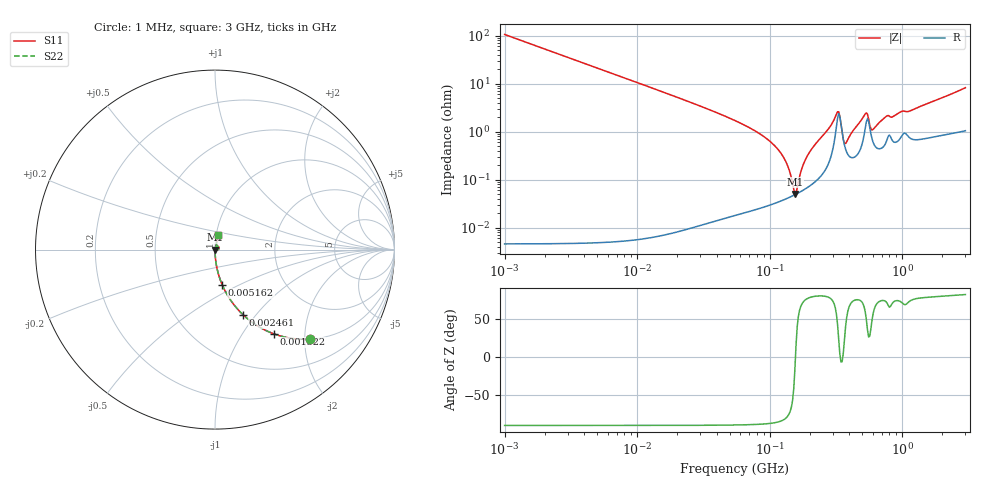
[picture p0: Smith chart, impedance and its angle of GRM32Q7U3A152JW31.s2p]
!Murata Part Number: GRM32Q7U3A152JW31
!These Parameters are Measured in Series Mode Connection
!Data Generated on Mar 30, 2021
!  o--ll--o
!Port1  Port2
!  o------o
!Operation Temp=25[degC], DC Bias Voltage=0[V]
!Freq. Start=1000[kHz] Stop=3[GHz] 401[Steps]
# Hz S RI R 50
!Freq.(Hz) S11(Real) S11(Imag) S21(Real) S21(Imag) S12(Real) S12(Imag) S22(Real) S22(Imag)
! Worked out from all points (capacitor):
!   401 points, 1 MHz to 3 GHz, reference 50 ohm
!   read as one part in series: C = 1.5 nF near 1.041 MHz
!   lowest |Z| = 50.5 mohm at 155.1 MHz (marker M1)
!   series resonance near 156.6 MHz, so ESL is about 690 pH
!   S11 on the Smith chart (normalised r, x): 1 MHz: 1.00, -2.13; 1.522 MHz: 1.00, -1.40; 2.461 MHz: 1.00, -0.86; 5.162 MHz: 1.00, -0.41; 3 GHz: 1.02, +0.16
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1000000  0.5307 -0.499  0.4693 0.499  0.4693 0.499  0.5307 -0.499
1522470  0.3279 -0.4694  0.6721 0.4694  0.6721 0.4694  0.3279 -0.4694
2461366  0.1573 -0.364  0.8427 0.364  0.8427 0.364  0.1573 -0.364
3823119  0.0718 -0.258  0.9282 0.258  0.9282 0.258  0.0718 -0.258
5161903  0.0407 -0.1974  0.9593 0.1974  0.9593 0.1974  0.0407 -0.1974
1.461624e7  0.00524 -0.0717  0.9948 0.0717  0.9948 0.0717  0.00524 -0.0717
5.477226e7  0.00047 -0.0171  0.9995 0.0171  0.9995 0.0171  0.00047 -0.0171
8.507507e7  0.000333 -0.00888  0.9997 0.00888  0.9997 0.00888  0.000333 -0.00888
1.125904e8  0.000352 -0.00464  0.9996 0.00464  0.9996 0.00464  0.000352 -0.00464
1.348146e8  0.000409 -0.0021  0.9996 0.0021  0.9996 0.0021  0.000409 -0.0021
1.550909e8  0.000486 -0.000136  0.9995 0.000136  0.9995 0.000136  0.000486 -0.000136
1.614254e8  0.000514 0.000433  0.9995 -0.000433  0.9995 -0.000433  0.000514 0.000433
1.820241e8  0.000625 0.00219  0.9994 -0.00219  0.9994 -0.00219  0.000625 0.00219
2.094008e8  0.000825 0.00444  0.9992 -0.00444  0.9992 -0.00444  0.000825 0.00444
3.252521e8  0.0187 0.0174  0.9813 -0.0174  0.9813 -0.0174  0.0187 0.0174
3.385367e8  0.0206 0.00152  0.9794 -0.00152  0.9794 -0.00152  0.0206 0.00152
3.594878e8  0.00686 0.000604  0.9931 -0.000604  0.9931 -0.000604  0.00686 0.000604
3.741707e8  0.00432 0.00365  0.9957 -0.00365  0.9957 -0.00365  0.00432 0.00365
5.258324e8  0.0118 0.02  0.9882 -0.02  0.9882 -0.02  0.0118 0.02
6.049187e8  0.00597 0.00945  0.994 -0.00945  0.994 -0.00945  0.00597 0.00945
8.005644e8  0.00883 0.019  0.9912 -0.019  0.9912 -0.019  0.00883 0.019
3e9  0.0169 0.0798  0.9831 -0.0798  0.9831 -0.0798  0.0169 0.0798
